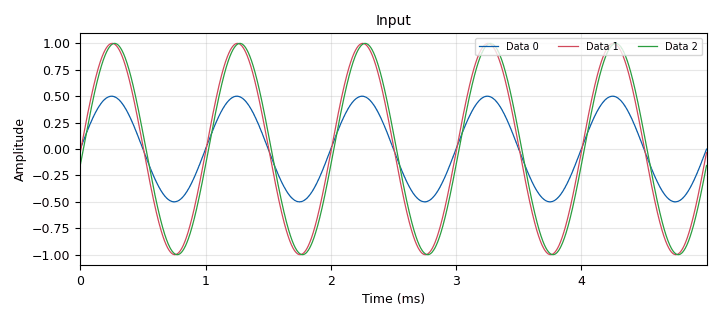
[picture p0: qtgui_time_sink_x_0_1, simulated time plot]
<?xml version='1.0' encoding='utf-8'?>
<?grc format='1' created='3.7.8'?>
<flow_graph>
<block>
<key>options</key>
<param><key>id</key><value>top_block</value></param>
<param><key>category</key><value>Custom</value></param>
<param><key>generate_options</key><value>qt_gui</value></param>
</block>
<block>
<key>variable</key>
<param><key>id</key><value>cal_freq</value></param>
<param><key>value</key><value>1000</value></param>
</block>
<block>
<key>variable</key>
<param><key>id</key><value>center_freq</value></param>
<param><key>value</key><value>2.4e9</value></param>
</block>
<block>
<key>variable</key>
<param><key>id</key><value>gain_rx</value></param>
<param><key>value</key><value>0</value></param>
</block>
<block>
<key>variable</key>
<param><key>id</key><value>samp_rate</value></param>
<param><key>value</key><value>1024000*2</value></param>
</block>
<block>
<key>variable_qtgui_chooser</key>
<param><key>id</key><value>variable_qtgui_chooser_0</value></param>
<param><key>value</key><value>0</value></param>
<param><key>label</key><value>Enable</value></param>
<param><key>num_opts</key><value>2</value></param>
<param><key>option0</key><value>0</value></param>
<param><key>option1</key><value>1</value></param>
<param><key>type</key><value>int</value></param>
</block>
<block>
<key>variable_qtgui_chooser</key>
<param><key>id</key><value>variable_qtgui_chooser_0_0</value></param>
<param><key>value</key><value>0</value></param>
<param><key>label0</key><value>Disable</value></param>
<param><key>label1</key><value>Enable</value></param>
<param><key>label</key><value>Enable Gains</value></param>
<param><key>num_opts</key><value>2</value></param>
<param><key>option0</key><value>0</value></param>
<param><key>option1</key><value>1</value></param>
<param><key>type</key><value>int</value></param>
</block>
<block>
<key>variable_qtgui_chooser</key>
<param><key>id</key><value>variable_qtgui_chooser_0_1</value></param>
<param><key>value</key><value>False</value></param>
<param><key>label0</key><value>True</value></param>
<param><key>label1</key><value>False</value></param>
<param><key>label</key><value>Trigger</value></param>
<param><key>num_opts</key><value>2</value></param>
<param><key>option0</key><value>1</value></param>
<param><key>option1</key><value>0</value></param>
<param><key>type</key><value>real</value></param>
</block>
<block>
<key>variable_qtgui_range</key>
<param><key>id</key><value>variable_qtgui_range_0</value></param>
<param><key>value</key><value>50</value></param>
<param><key>label</key><value>Delay</value></param>
<param><key>orient</key><value>Qt.Horizontal</value></param>
<param><key>start</key><value>0</value></param>
<param><key>step</key><value>1</value></param>
<param><key>stop</key><value>100</value></param>
<param><key>rangeType</key><value>int</value></param>
</block>
<block>
<key>variable_qtgui_range</key>
<param><key>id</key><value>variable_qtgui_range_0_0</value></param>
<param><key>value</key><value>50</value></param>
<param><key>label</key><value>Gain</value></param>
<param><key>orient</key><value>Qt.Horizontal</value></param>
<param><key>start</key><value>0</value></param>
<param><key>step</key><value>1</value></param>
<param><key>stop</key><value>100</value></param>
</block>
<block>
<key>analog_sig_source_x</key>
<param><key>id</key><value>analog_sig_source_x_0</value></param>
<param><key>amp</key><value>1</value></param>
<param><key>freq</key><value>cal_freq</value></param>
<param><key>offset</key><value>0</value></param>
<param><key>type</key><value>complex</value></param>
<param><key>samp_rate</key><value>samp_rate</value></param>
<param><key>waveform</key><value>analog.GR_COS_WAVE</value></param>
</block>
<block>
<key>blocks_complex_to_real</key>
<param><key>id</key><value>blocks_complex_to_real_0_0_0_0</value></param>
</block>
<block>
<key>blocks_complex_to_real</key>
<param><key>id</key><value>blocks_complex_to_real_0_0_0_1</value></param>
</block>
<block>
<key>blocks_complex_to_real</key>
<param><key>id</key><value>blocks_complex_to_real_0_0_0_1_0</value></param>
</block>
<block>
<key>blocks_complex_to_real</key>
<param><key>id</key><value>blocks_complex_to_real_0_0_1</value></param>
</block>
<block>
<key>blocks_complex_to_real</key>
<param><key>id</key><value>blocks_complex_to_real_0_0_2</value></param>
</block>
<block>
<key>blocks_complex_to_real</key>
<param><key>id</key><value>blocks_complex_to_real_0_0_2_0</value></param>
</block>
<block>
<key>blocks_complex_to_real</key>
<param><key>id</key><value>blocks_complex_to_real_0_1</value></param>
</block>
<block>
<key>blocks_complex_to_real</key>
<param><key>id</key><value>blocks_complex_to_real_0_2</value></param>
</block>
<block>
<key>blocks_complex_to_real</key>
<param><key>id</key><value>blocks_complex_to_real_0_2_0</value></param>
</block>
<block>
<key>blocks_delay</key>
<param><key>id</key><value>blocks_delay_0</value></param>
<param><key>delay</key><value>0</value></param>
<param><key>type</key><value>complex</value></param>
</block>
<block>
<key>blocks_delay</key>
<param><key>id</key><value>blocks_delay_0_0</value></param>
<param><key>delay</key><value>variable_qtgui_range_0</value></param>
<param><key>type</key><value>complex</value></param>
</block>
<block>
<key>blocks_delay</key>
<param><key>id</key><value>blocks_delay_0_1</value></param>
<param><key>delay</key><value>10</value></param>
<param><key>type</key><value>complex</value></param>
</block>
<block>
<key>blocks_message_strobe</key>
<param><key>id</key><value>blocks_message_strobe_0</value></param>
<param><key>msg</key><value>pmt.from_double(variable_qtgui_chooser_0_1)</value></param>
<param><key>period</key><value>1000</value></param>
</block>
<block>
<key>blocks_multiply_const_vxx</key>
<param><key>id</key><value>blocks_multiply_const_vxx_0_0</value></param>
<param><key>const</key><value>variable_qtgui_range_0_0*0.01</value></param>
<param><key>type</key><value>complex</value></param>
</block>
<block>
<key>blocks_throttle</key>
<param><key>id</key><value>blocks_throttle_0</value></param>
<param><key>samples_per_second</key><value>samp_rate</value></param>
<param><key>type</key><value>complex</value></param>
</block>
<block>
<key>correct_gains_hier</key>
<param><key>id</key><value>correct_gains_hier_0</value></param>
<param><key>cal_tone_freq</key><value>cal_freq</value></param>
<param><key>samp_rate_0</key><value>samp_rate</value></param>
</block>
<block>
<key>measure_phases</key>
<param><key>id</key><value>measure_phases_0</value></param>
<param><key>cal_tone_freq</key><value>cal_freq</value></param>
<param><key>stopEstimating</key><value>variable_qtgui_chooser_0</value></param>
<param><key>skip</key><value>1024000*10</value></param>
<param><key>memSize</key><value>1024</value></param>
<param><key>samp_rate</key><value>samp_rate</value></param>
<param><key>updatePeriod</key><value>10</value></param>
</block>
<block>
<key>qtgui_time_sink_x</key>
<param><key>id</key><value>qtgui_time_sink_x_0_0</value></param>
<param><key>autoscale</key><value>True</value></param>
<param><key>ctrlpanel</key><value>True</value></param>
<param><key>gui_hint</key><value>tab@2</value></param>
<param><key>color1</key><value>"blue"</value></param>
<param><key>label1</key><value></value></param>
<param><key>color2</key><value>"red"</value></param>
<param><key>label2</key><value></value></param>
<param><key>color3</key><value>"green"</value></param>
<param><key>label3</key><value></value></param>
<param><key>name</key><value>"Output Synced"</value></param>
<param><key>nconnections</key><value>3</value></param>
<param><key>size</key><value>10240</value></param>
<param><key>srate</key><value>samp_rate</value></param>
<param><key>tr_mode</key><value>qtgui.TRIG_MODE_AUTO</value></param>
<param><key>type</key><value>float</value></param>
</block>
<block>
<key>qtgui_time_sink_x</key>
<param><key>id</key><value>qtgui_time_sink_x_0_1</value></param>
<param><key>autoscale</key><value>True</value></param>
<param><key>ctrlpanel</key><value>True</value></param>
<param><key>gui_hint</key><value>tab@0</value></param>
<param><key>color1</key><value>"blue"</value></param>
<param><key>label1</key><value></value></param>
<param><key>color2</key><value>"red"</value></param>
<param><key>label2</key><value></value></param>
<param><key>color3</key><value>"green"</value></param>
<param><key>label3</key><value></value></param>
<param><key>name</key><value>"Input"</value></param>
<param><key>nconnections</key><value>3</value></param>
<param><key>size</key><value>10240</value></param>
<param><key>srate</key><value>samp_rate</value></param>
<param><key>tr_mode</key><value>qtgui.TRIG_MODE_AUTO</value></param>
<param><key>type</key><value>float</value></param>
</block>
<block>
<key>qtgui_time_sink_x</key>
<param><key>id</key><value>qtgui_time_sink_x_0_1_0</value></param>
<param><key>autoscale</key><value>True</value></param>
<param><key>ctrlpanel</key><value>True</value></param>
<param><key>gui_hint</key><value>tab@1</value></param>
<param><key>color1</key><value>"blue"</value></param>
<param><key>label1</key><value></value></param>
<param><key>color2</key><value>"red"</value></param>
<param><key>label2</key><value></value></param>
<param><key>color3</key><value>"green"</value></param>
<param><key>label3</key><value></value></param>
<param><key>name</key><value>"Post (Gains)"</value></param>
<param><key>nconnections</key><value>3</value></param>
<param><key>size</key><value>10240</value></param>
<param><key>srate</key><value>samp_rate</value></param>
<param><key>tr_mode</key><value>qtgui.TRIG_MODE_AUTO</value></param>
<param><key>type</key><value>float</value></param>
</block>
<block>
<key>qtgui_tab_widget</key>
<param><key>id</key><value>tab</value></param>
<param><key>label0</key><value>Input</value></param>
<param><key>label1</key><value>Post Gain Correct</value></param>
<param><key>label2</key><value>Post Phase Correct</value></param>
<param><key>num_tabs</key><value>3</value></param>
</block>
<block>
<key>wifius_correct_input</key>
<param><key>id</key><value>wifius_correct_input_0</value></param>
<param><key>vlen</key><value>1</value></param>
</block>
<block>
<key>wifius_correct_input</key>
<param><key>id</key><value>wifius_correct_input_0_0</value></param>
<param><key>vlen</key><value>1</value></param>
</block>
<block>
<key>wifius_correct_input</key>
<param><key>id</key><value>wifius_correct_input_0_1</value></param>
<param><key>vlen</key><value>1</value></param>
</block>
<connection><source_block_id>analog_sig_source_x_0</source_block_id><sink_block_id>blocks_throttle_0</sink_block_id><source_key>0</source_key><sink_key>0</sink_key></connection>
<connection><source_block_id>blocks_complex_to_real_0_0_0_0</source_block_id><sink_block_id>qtgui_time_sink_x_0_0</sink_block_id><source_key>0</source_key><sink_key>2</sink_key></connection>
<connection><source_block_id>blocks_complex_to_real_0_0_0_1</source_block_id><sink_block_id>qtgui_time_sink_x_0_1</sink_block_id><source_key>0</source_key><sink_key>2</sink_key></connection>
<connection><source_block_id>blocks_complex_to_real_0_0_0_1_0</source_block_id><sink_block_id>qtgui_time_sink_x_0_1_0</sink_block_id><source_key>0</source_key><sink_key>2</sink_key></connection>
<connection><source_block_id>blocks_complex_to_real_0_0_1</source_block_id><sink_block_id>qtgui_time_sink_x_0_0</sink_block_id><source_key>0</source_key><sink_key>1</sink_key></connection>
<connection><source_block_id>blocks_complex_to_real_0_0_2</source_block_id><sink_block_id>qtgui_time_sink_x_0_1</sink_block_id><source_key>0</source_key><sink_key>1</sink_key></connection>
<connection><source_block_id>blocks_complex_to_real_0_0_2_0</source_block_id><sink_block_id>qtgui_time_sink_x_0_1_0</sink_block_id><source_key>0</source_key><sink_key>1</sink_key></connection>
<connection><source_block_id>blocks_complex_to_real_0_1</source_block_id><sink_block_id>qtgui_time_sink_x_0_0</sink_block_id><source_key>0</source_key><sink_key>0</sink_key></connection>
<connection><source_block_id>blocks_complex_to_real_0_2</source_block_id><sink_block_id>qtgui_time_sink_x_0_1</sink_block_id><source_key>0</source_key><sink_key>0</sink_key></connection>
<connection><source_block_id>blocks_complex_to_real_0_2_0</source_block_id><sink_block_id>qtgui_time_sink_x_0_1_0</sink_block_id><source_key>0</source_key><sink_key>0</sink_key></connection>
<connection><source_block_id>blocks_delay_0</source_block_id><sink_block_id>blocks_multiply_const_vxx_0_0</sink_block_id><source_key>0</source_key><sink_key>0</sink_key></connection>
<connection><source_block_id>blocks_delay_0_0</source_block_id><sink_block_id>blocks_complex_to_real_0_0_0_1</sink_block_id><source_key>0</source_key><sink_key>0</sink_key></connection>
<connection><source_block_id>blocks_delay_0_0</source_block_id><sink_block_id>correct_gains_hier_0</sink_block_id><source_key>0</source_key><sink_key>2</sink_key></connection>
<connection><source_block_id>blocks_delay_0_1</source_block_id><sink_block_id>blocks_complex_to_real_0_0_2</sink_block_id><source_key>0</source_key><sink_key>0</sink_key></connection>
<connection><source_block_id>blocks_delay_0_1</source_block_id><sink_block_id>correct_gains_hier_0</sink_block_id><source_key>0</source_key><sink_key>1</sink_key></connection>
<connection><source_block_id>blocks_message_strobe_0</source_block_id><sink_block_id>correct_gains_hier_0</sink_block_id><source_key>strobe</source_key><sink_key>Trigger</sink_key></connection>
<connection><source_block_id>blocks_message_strobe_0</source_block_id><sink_block_id>measure_phases_0</sink_block_id><source_key>strobe</source_key><sink_key>Trigger</sink_key></connection>
<connection><source_block_id>blocks_multiply_const_vxx_0_0</source_block_id><sink_block_id>blocks_complex_to_real_0_2</sink_block_id><source_key>0</source_key><sink_key>0</sink_key></connection>
<connection><source_block_id>blocks_multiply_const_vxx_0_0</source_block_id><sink_block_id>correct_gains_hier_0</sink_block_id><source_key>0</source_key><sink_key>0</sink_key></connection>
<connection><source_block_id>blocks_throttle_0</source_block_id><sink_block_id>blocks_delay_0</sink_block_id><source_key>0</source_key><sink_key>0</sink_key></connection>
<connection><source_block_id>blocks_throttle_0</source_block_id><sink_block_id>blocks_delay_0_0</sink_block_id><source_key>0</source_key><sink_key>0</sink_key></connection>
<connection><source_block_id>blocks_throttle_0</source_block_id><sink_block_id>blocks_delay_0_1</sink_block_id><source_key>0</source_key><sink_key>0</sink_key></connection>
<connection><source_block_id>correct_gains_hier_0</source_block_id><sink_block_id>blocks_complex_to_real_0_2_0</sink_block_id><source_key>0</source_key><sink_key>0</sink_key></connection>
<connection><source_block_id>correct_gains_hier_0</source_block_id><sink_block_id>measure_phases_0</sink_block_id><source_key>0</source_key><sink_key>0</sink_key></connection>
<connection><source_block_id>correct_gains_hier_0</source_block_id><sink_block_id>wifius_correct_input_0</sink_block_id><source_key>0</source_key><sink_key>0</sink_key></connection>
<connection><source_block_id>correct_gains_hier_0</source_block_id><sink_block_id>blocks_complex_to_real_0_0_2_0</sink_block_id><source_key>1</source_key><sink_key>0</sink_key></connection>
<connection><source_block_id>correct_gains_hier_0</source_block_id><sink_block_id>measure_phases_0</sink_block_id><source_key>1</source_key><sink_key>1</sink_key></connection>
<connection><source_block_id>correct_gains_hier_0</source_block_id><sink_block_id>wifius_correct_input_0_1</sink_block_id><source_key>1</source_key><sink_key>0</sink_key></connection>
<connection><source_block_id>correct_gains_hier_0</source_block_id><sink_block_id>blocks_complex_to_real_0_0_0_1_0</sink_block_id><source_key>2</source_key><sink_key>0</sink_key></connection>
<connection><source_block_id>correct_gains_hier_0</source_block_id><sink_block_id>measure_phases_0</sink_block_id><source_key>2</source_key><sink_key>2</sink_key></connection>
<connection><source_block_id>correct_gains_hier_0</source_block_id><sink_block_id>wifius_correct_input_0_0</sink_block_id><source_key>2</source_key><sink_key>0</sink_key></connection>
<connection><source_block_id>measure_phases_0</source_block_id><sink_block_id>wifius_correct_input_0</sink_block_id><source_key>message0</source_key><sink_key>set_delay</sink_key></connection>
<connection><source_block_id>measure_phases_0</source_block_id><sink_block_id>wifius_correct_input_0_1</sink_block_id><source_key>message1</source_key><sink_key>set_delay</sink_key></connection>
<connection><source_block_id>measure_phases_0</source_block_id><sink_block_id>wifius_correct_input_0_0</sink_block_id><source_key>message2</source_key><sink_key>set_delay</sink_key></connection>
<connection><source_block_id>wifius_correct_input_0</source_block_id><sink_block_id>blocks_complex_to_real_0_1</sink_block_id><source_key>0</source_key><sink_key>0</sink_key></connection>
<connection><source_block_id>wifius_correct_input_0_0</source_block_id><sink_block_id>blocks_complex_to_real_0_0_0_0</sink_block_id><source_key>0</source_key><sink_key>0</sink_key></connection>
<connection><source_block_id>wifius_correct_input_0_1</source_block_id><sink_block_id>blocks_complex_to_real_0_0_1</sink_block_id><source_key>0</source_key><sink_key>0</sink_key></connection>
</flow_graph>
